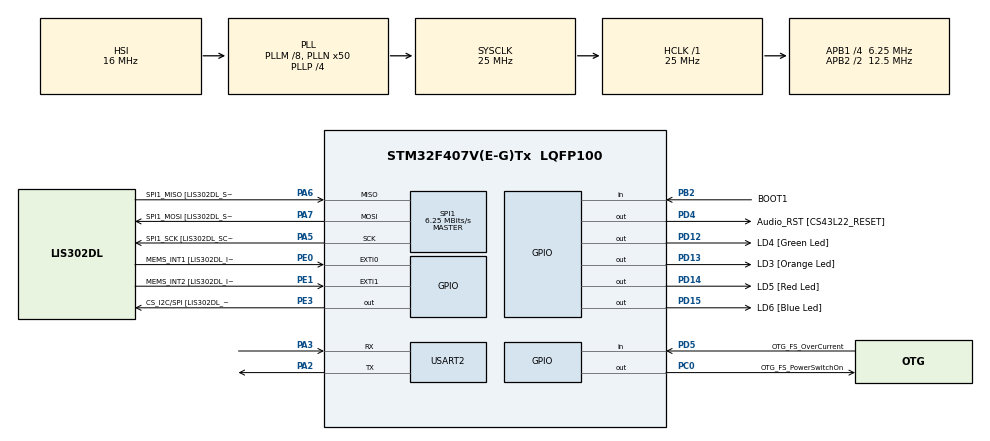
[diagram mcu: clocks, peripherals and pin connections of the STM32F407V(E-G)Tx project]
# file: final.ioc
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Mcu.Family=STM32F4
Mcu.Name=STM32F407V(E-G)Tx
Mcu.Package=LQFP100
NVIC.PriorityGroup=NVIC_PRIORITYGROUP_0
PA10.GPIO_Label=OTG_FS_ID
PA10.GPIO_Mode=GPIO_MODE_AF_PP
PA10.GPIO_PuPd=GPIO_NOPULL
PA10.GPIO_Speed=GPIO_SPEED_FREQ_LOW
PA10.Signal=USB_OTG_FS_ID
PA11.GPIO_Label=OTG_FS_DM
PA11.GPIO_Mode=GPIO_MODE_AF_PP
PA11.GPIO_PuPd=GPIO_NOPULL
PA11.GPIO_Speed=GPIO_SPEED_FREQ_LOW
PA11.Signal=USB_OTG_FS_DM
PA12.GPIO_Label=OTG_FS_DP
PA12.GPIO_Mode=GPIO_MODE_AF_PP
PA12.GPIO_PuPd=GPIO_NOPULL
PA12.GPIO_Speed=GPIO_SPEED_FREQ_LOW
PA12.Signal=USB_OTG_FS_DP
PA13.GPIO_Label=SWDIO
PA13.Signal=SYS_JTMS-SWDIO
PA14.GPIO_Label=SWCLK
PA14.Signal=SYS_JTCK-SWCLK
PA2.Mode=Asynchronous
PA2.Signal=USART2_TX
PA3.Mode=Asynchronous
PA3.Signal=USART2_RX
PA4.GPIO_Label=I2S3_WS [CS43L22_LRCK]
PA4.GPIO_Mode=GPIO_MODE_AF_PP
PA4.GPIO_PuPd=GPIO_NOPULL
PA4.GPIO_Speed=GPIO_SPEED_FREQ_LOW
PA4.Signal=I2S3_WS
PA5.GPIO_Label=SPI1_SCK [LIS302DL_SCL/SPC]
PA5.GPIO_Mode=GPIO_MODE_AF_PP
PA5.GPIO_PuPd=GPIO_NOPULL
PA5.GPIO_Speed=GPIO_SPEED_FREQ_LOW
PA5.Mode=Full_Duplex_Master
PA5.Signal=SPI1_SCK
PA6.GPIO_Label=SPI1_MISO [LIS302DL_SDO]
PA6.GPIO_Mode=GPIO_MODE_AF_PP
PA6.GPIO_PuPd=GPIO_NOPULL
PA6.GPIO_Speed=GPIO_SPEED_FREQ_LOW
PA6.Mode=Full_Duplex_Master
PA6.Signal=SPI1_MISO
PA7.GPIO_Label=SPI1_MOSI [LIS302DL_SDA/SDI/SDO]
PA7.GPIO_Mode=GPIO_MODE_AF_PP
PA7.GPIO_PuPd=GPIO_NOPULL
PA7.GPIO_Speed=GPIO_SPEED_FREQ_LOW
PA7.Mode=Full_Duplex_Master
PA7.Signal=SPI1_MOSI
PA9.GPIO_Label=VBUS_FS
PA9.GPIO_Mode=GPIO_MODE_INPUT
PA9.GPIO_PuPd=GPIO_NOPULL
PA9.Signal=USB_OTG_FS_VBUS
PB10.GPIO_Label=CLK_IN [MP45DT02_CLK]
PB10.GPIO_Mode=GPIO_MODE_AF_PP
PB10.GPIO_PuPd=GPIO_NOPULL
PB10.GPIO_Speed=GPIO_SPEED_FREQ_LOW
PB10.Signal=I2S2_CK
PB2.GPIO_Label=BOOT1
PB2.GPIO_Mode=GPIO_MODE_INPUT
PB2.GPIO_PuPd=GPIO_NOPULL
PB2.Signal=GPIO_Input
PB3.GPIO_Label=SWO
PB3.Signal=SYS_JTDO-SWO
PB6.GPIO_Label=Audio_SCL [CS43L22_SCL]
PB6.GPIO_Mode=GPIO_MODE_AF_OD
PB6.GPIO_PuPd=GPIO_NOPULL
PB6.GPIO_Speed=GPIO_SPEED_FREQ_LOW
PB6.Signal=I2C1_SCL
PB9.GPIO_Label=Audio_SDA [CS43L22_SDA]
PB9.GPIO_Mode=GPIO_MODE_AF_OD
PB9.GPIO_PuPd=GPIO_NOPULL
PB9.GPIO_Speed=GPIO_SPEED_FREQ_LOW
PB9.Signal=I2C1_SDA
PC0.GPIO_Label=OTG_FS_PowerSwitchOn
PC0.GPIO_PuPd=GPIO_NOPULL
PC0.GPIO_Speed=GPIO_SPEED_FREQ_LOW
PC0.PinState=GPIO_PIN_SET
PC0.Signal=GPIO_Output
PC10.GPIO_Label=I2S3_SCK [CS43L22_SCLK]
PC10.GPIO_Mode=GPIO_MODE_AF_PP
PC10.GPIO_PuPd=GPIO_NOPULL
PC10.GPIO_Speed=GPIO_SPEED_FREQ_LOW
PC10.Signal=I2S3_CK
PC12.GPIO_Label=I2S3_SD [CS43L22_SDIN]
PC12.GPIO_Mode=GPIO_MODE_AF_PP
PC12.GPIO_PuPd=GPIO_NOPULL
PC12.GPIO_Speed=GPIO_SPEED_FREQ_LOW
PC12.Signal=I2S3_SD
PC14-OSC32_IN.GPIO_Label=PC14-OSC32_IN
PC14-OSC32_IN.Signal=RCC_OSC32_IN
PC15-OSC32_OUT.GPIO_Label=PC15-OSC32_OUT
PC15-OSC32_OUT.Signal=RCC_OSC32_OUT
PC3.GPIO_Label=PDM_OUT [MP45DT02_DOUT]
PC3.GPIO_Mode=GPIO_MODE_AF_PP
PC3.GPIO_PuPd=GPIO_NOPULL
PC3.GPIO_Speed=GPIO_SPEED_FREQ_LOW
PC3.Signal=I2S2_SD
PC7.GPIO_Label=I2S3_MCK [CS43L22_MCLK]
PC7.GPIO_Mode=GPIO_MODE_AF_PP
PC7.GPIO_PuPd=GPIO_NOPULL
PC7.GPIO_Speed=GPIO_SPEED_FREQ_LOW
PC7.Signal=I2S3_MCK
PD12.GPIO_Label=LD4 [Green Led]
PD12.GPIO_PuPd=GPIO_NOPULL
PD12.GPIO_Speed=GPIO_SPEED_FREQ_LOW
PD12.Signal=GPIO_Output
PD13.GPIO_Label=LD3 [Orange Led]
PD13.GPIO_PuPd=GPIO_NOPULL
PD13.GPIO_Speed=GPIO_SPEED_FREQ_LOW
PD13.Signal=GPIO_Output
PD14.GPIO_Label=LD5 [Red Led]
PD14.GPIO_PuPd=GPIO_NOPULL
PD14.GPIO_Speed=GPIO_SPEED_FREQ_LOW
PD14.Signal=GPIO_Output
PD15.GPIO_Label=LD6 [Blue Led]
PD15.GPIO_PuPd=GPIO_NOPULL
PD15.GPIO_Speed=GPIO_SPEED_FREQ_LOW
PD15.Signal=GPIO_Output
PD4.GPIO_Label=Audio_RST [CS43L22_RESET]
PD4.GPIO_PuPd=GPIO_NOPULL
PD4.GPIO_Speed=GPIO_SPEED_FREQ_LOW
PD4.Signal=GPIO_Output
PD5.GPIO_Label=OTG_FS_OverCurrent
PD5.GPIO_Mode=GPIO_MODE_INPUT
PD5.GPIO_PuPd=GPIO_NOPULL
PD5.Signal=GPIO_Input
PE0.GPIO_Label=MEMS_INT1 [LIS302DL_INT1]
PE0.Signal=GPXTI0
PE1.GPIO_Label=MEMS_INT2 [LIS302DL_INT2]
PE1.GPIO_ModeDefaultEXTI=GPIO_MODE_EVT_RISING
PE1.GPIO_PuPd=GPIO_NOPULL
PE1.Signal=GPXTI1
PE3.GPIO_Label=CS_I2C/SPI [LIS302DL_CS_I2C/SPI]
PE3.GPIO_PuPd=GPIO_NOPULL
PE3.GPIO_Speed=GPIO_SPEED_FREQ_LOW
PE3.Signal=GPIO_Output
PH0-OSC_IN.GPIO_Label=PH0-OSC_IN
PH0-OSC_IN.Signal=RCC_OSC_IN
PH1-OSC_OUT.GPIO_Label=PH1-OSC_OUT
PH1-OSC_OUT.Signal=RCC_OSC_OUT
ProjectManager.HeapSize=0x200
ProjectManager.StackSize=0x400
ProjectManager.TargetToolchain=SW4STM32
RCC.48MHZClocksFreq_Value=14285714.285714285
RCC.AHBFreq_Value=25000000
RCC.APB1CLKDivider=RCC_HCLK_DIV4
RCC.APB1Freq_Value=6250000
RCC.APB1TimFreq_Value=12500000
RCC.APB2CLKDivider=RCC_HCLK_DIV2
RCC.APB2Freq_Value=12500000
RCC.APB2TimFreq_Value=25000000
RCC.CortexFreq_Value=25000000
RCC.HCLKFreq_Value=25000000
RCC.HSE_VALUE=8000000
RCC.HSI_VALUE=16000000
RCC.LSE_VALUE=32768
RCC.PLLM=8
RCC.PLLN=50
RCC.PLLP=RCC_PLLP_DIV4
RCC.PLLQ=7
RCC.SYSCLKFreq_VALUE=25000000
RCC.SYSCLKSource=RCC_SYSCLKSOURCE_PLLCLK
RCC.VCOOutputFreq_Value=100000000
SPI1.CalculateBaudRate=6.25 MBits/s
SPI1.Mode=SPI_MODE_MASTER
board=STM32F407G-DISC1

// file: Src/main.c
/**
 ******************************************************************************
 * File Name          : main.c
 * Description        : Main program body
 ******************************************************************************
 *
 * COPYRIGHT(c) 2016 STMicroelectronics
 *
 * Redistribution and use in source and binary forms, with or without modification,
 * are permitted provided that the following conditions are met:
 *   1. Redistributions of source code must retain the above copyright notice,
 *      this list of conditions and the following disclaimer.
 *   2. Redistributions in binary form must reproduce the above copyright notice,
 *      this list of conditions and the following disclaimer in the documentation
 *      and/or other materials provided with the distribution.
 *   3. Neither the name of STMicroelectronics nor the names of its contributors
 *      may be used to endorse or promote products derived from this software
 *      without specific prior written permission.
 *
 * THIS SOFTWARE IS PROVIDED BY THE COPYRIGHT HOLDERS AND CONTRIBUTORS "AS IS"
 * AND ANY EXPRESS OR IMPLIED WARRANTIES, INCLUDING, BUT NOT LIMITED TO, THE
 * IMPLIED WARRANTIES OF MERCHANTABILITY AND FITNESS FOR A PARTICULAR PURPOSE ARE
 * DISCLAIMED. IN NO EVENT SHALL THE COPYRIGHT HOLDER OR CONTRIBUTORS BE LIABLE
 * FOR ANY DIRECT, INDIRECT, INCIDENTAL, SPECIAL, EXEMPLARY, OR CONSEQUENTIAL
 * DAMAGES (INCLUDING, BUT NOT LIMITED TO, PROCUREMENT OF SUBSTITUTE GOODS OR
 * SERVICES; LOSS OF USE, DATA, OR PROFITS; OR BUSINESS INTERRUPTION) HOWEVER
 * CAUSED AND ON ANY THEORY OF LIABILITY, WHETHER IN CONTRACT, STRICT LIABILITY,
 * OR TORT (INCLUDING NEGLIGENCE OR OTHERWISE) ARISING IN ANY WAY OUT OF THE USE
 * OF THIS SOFTWARE, EVEN IF ADVISED OF THE POSSIBILITY OF SUCH DAMAGE.
 *
 ******************************************************************************
 */
#include "main.h"
#include "stm32f4xx_hal.h"

SPI_HandleTypeDef hspi1;

UART_HandleTypeDef huart2;

/* USER CODE BEGIN PV */
/* Private variables ---------------------------------------------------------*/

/* USER CODE END PV */

void SystemClock_Config(void);
void Error_Handler(void);
static void MX_GPIO_Init(void);
static void MX_USART2_UART_Init(void);
static void MX_SPI1_Init(void);

/* USER CODE BEGIN PFP */
/* Private function prototypes -----------------------------------------------*/

/* USER CODE END PFP */

int main(void) {

	/* MCU Configuration----------------------------------------------------------*/

	/* Reset of all peripherals, Initializes the Flash interface and the Systick. */
	HAL_Init();

	/* Configure the system clock */
	SystemClock_Config();

	/* Initialize all configured peripherals */
	MX_GPIO_Init();
	MX_USART2_UART_Init();
	MX_SPI1_Init();

	/* USER CODE BEGIN 2 */
	uint8_t address = 0x20;
	uint8_t data = 0x67;

	uint8_t x, y, z;

	HAL_GPIO_WritePin(GPIOE, GPIO_PIN_3, GPIO_PIN_RESET);
	HAL_SPI_Transmit(&hspi1, &address, 1, 50);
	HAL_SPI_Transmit(&hspi1, &data, 1, 50);
	HAL_GPIO_WritePin(GPIOE, GPIO_PIN_3, GPIO_PIN_SET);
	/* USER CODE END 2 */

	/* Infinite loop */
	while (1) {

		/* USER CODE BEGIN 3 */
		// HAL_SPI_Transmit
		HAL_GPIO_WritePin(GPIOE,GPIO_PIN_3,GPIO_PIN_RESET);

		address = 0x29 | 0x80;
		HAL_SPI_Transmit(&hspi1, &address, 1, 50);
		HAL_SPI_Receive(&hspi1, &x, 1, 50);

		address = 0x2B | 0x80;
		HAL_SPI_Transmit(&hspi1, &address, 1, 50);
		HAL_SPI_Receive(&hspi1, &y, 1, 50);

		address = 0x2C | 0x80;
		HAL_SPI_Transmit(&hspi1, &address, 1, 50);
		HAL_SPI_Receive(&hspi1, &z, 1, 50);

		if (x < 60) {
			HAL_GPIO_WritePin(GPIOD, GPIO_PIN_12, GPIO_PIN_SET);
			HAL_GPIO_WritePin(GPIOD, GPIO_PIN_14, GPIO_PIN_RESET);
		} else if (x > 240) {
			HAL_GPIO_WritePin(GPIOD, GPIO_PIN_12, GPIO_PIN_RESET);
			HAL_GPIO_WritePin(GPIOD, GPIO_PIN_14, GPIO_PIN_SET);
		} else {
			HAL_GPIO_WritePin(GPIOD, GPIO_PIN_12, GPIO_PIN_RESET);
			HAL_GPIO_WritePin(GPIOD, GPIO_PIN_14, GPIO_PIN_RESET);
		}

		if (y < 60) {
			HAL_GPIO_WritePin(GPIOD, GPIO_PIN_13, GPIO_PIN_SET);
			HAL_GPIO_WritePin(GPIOD, GPIO_PIN_15, GPIO_PIN_RESET);
		} else if (y > 240) {
			HAL_GPIO_WritePin(GPIOD, GPIO_PIN_13, GPIO_PIN_RESET);
			HAL_GPIO_WritePin(GPIOD, GPIO_PIN_15, GPIO_PIN_SET);
		} else {
			HAL_GPIO_WritePin(GPIOD, GPIO_PIN_13, GPIO_PIN_RESET);
			HAL_GPIO_WritePin(GPIOD, GPIO_PIN_15, GPIO_PIN_RESET);
		}
	}
	/* USER CODE END 3 */

}

/** System Clock Configuration
 */
void SystemClock_Config(void) {

	RCC_OscInitTypeDef RCC_OscInitStruct;
	RCC_ClkInitTypeDef RCC_ClkInitStruct;

	/**Configure the main internal regulator output voltage
	 */
	__HAL_RCC_PWR_CLK_ENABLE()
	;

	__HAL_PWR_VOLTAGESCALING_CONFIG(PWR_REGULATOR_VOLTAGE_SCALE1);

	/**Initializes the CPU, AHB and APB busses clocks
	 */
	RCC_OscInitStruct.OscillatorType = RCC_OSCILLATORTYPE_HSI;
	RCC_OscInitStruct.HSIState = RCC_HSI_ON;
	RCC_OscInitStruct.HSICalibrationValue = 16;
	RCC_OscInitStruct.PLL.PLLState = RCC_PLL_ON;
	RCC_OscInitStruct.PLL.PLLSource = RCC_PLLSOURCE_HSI;
	RCC_OscInitStruct.PLL.PLLM = 8;
	RCC_OscInitStruct.PLL.PLLN = 50;
	RCC_OscInitStruct.PLL.PLLP = RCC_PLLP_DIV4;
	RCC_OscInitStruct.PLL.PLLQ = 7;
	if (HAL_RCC_OscConfig(&RCC_OscInitStruct) != HAL_OK) {
		Error_Handler();
	}

	/**Initializes the CPU, AHB and APB busses clocks
	 */
	RCC_ClkInitStruct.ClockType = RCC_CLOCKTYPE_HCLK | RCC_CLOCKTYPE_SYSCLK
			| RCC_CLOCKTYPE_PCLK1 | RCC_CLOCKTYPE_PCLK2;
	RCC_ClkInitStruct.SYSCLKSource = RCC_SYSCLKSOURCE_PLLCLK;
	RCC_ClkInitStruct.AHBCLKDivider = RCC_SYSCLK_DIV1;
	RCC_ClkInitStruct.APB1CLKDivider = RCC_HCLK_DIV4;
	RCC_ClkInitStruct.APB2CLKDivider = RCC_HCLK_DIV2;

	if (HAL_RCC_ClockConfig(&RCC_ClkInitStruct, FLASH_LATENCY_0) != HAL_OK) {
		Error_Handler();
	}

	/**Configure the Systick interrupt time
	 */
	HAL_SYSTICK_Config(HAL_RCC_GetHCLKFreq() / 1000);

	/**Configure the Systick
	 */
	HAL_SYSTICK_CLKSourceConfig(SYSTICK_CLKSOURCE_HCLK);

	/* SysTick_IRQn interrupt configuration */
	HAL_NVIC_SetPriority(SysTick_IRQn, 0, 0);
}

/* SPI1 init function */
static void MX_SPI1_Init(void) {

	hspi1.Instance = SPI1;
	hspi1.Init.Mode = SPI_MODE_MASTER;
	hspi1.Init.Direction = SPI_DIRECTION_2LINES;
	hspi1.Init.DataSize = SPI_DATASIZE_8BIT;
	hspi1.Init.CLKPolarity = SPI_POLARITY_LOW;
	hspi1.Init.CLKPhase = SPI_PHASE_1EDGE;
	hspi1.Init.NSS = SPI_NSS_SOFT;
	hspi1.Init.BaudRatePrescaler = SPI_BAUDRATEPRESCALER_2;
	hspi1.Init.FirstBit = SPI_FIRSTBIT_MSB;
	hspi1.Init.TIMode = SPI_TIMODE_DISABLE;
	hspi1.Init.CRCCalculation = SPI_CRCCALCULATION_DISABLE;
	hspi1.Init.CRCPolynomial = 10;
	if (HAL_SPI_Init(&hspi1) != HAL_OK) {
		Error_Handler();
	}

}

/* USART2 init function */
static void MX_USART2_UART_Init(void) {

	huart2.Instance = USART2;
	huart2.Init.BaudRate = 115200;
	huart2.Init.WordLength = UART_WORDLENGTH_8B;
	huart2.Init.StopBits = UART_STOPBITS_1;
	huart2.Init.Parity = UART_PARITY_NONE;
	huart2.Init.Mode = UART_MODE_TX_RX;
	huart2.Init.HwFlowCtl = UART_HWCONTROL_NONE;
	huart2.Init.OverSampling = UART_OVERSAMPLING_16;
	if (HAL_UART_Init(&huart2) != HAL_OK) {
		Error_Handler();
	}

}

/** Configure pins as
 * Analog
 * Input
 * Output
 * EVENT_OUT
 * EXTI
 PC3   ------> I2S2_SD
 PA4   ------> I2S3_WS
 PB10   ------> I2S2_CK
 PC7   ------> I2S3_MCK
 PA9   ------> USB_OTG_FS_VBUS
 PA10   ------> USB_OTG_FS_ID
 PA11   ------> USB_OTG_FS_DM
 PA12   ------> USB_OTG_FS_DP
 PC10   ------> I2S3_CK
 PC12   ------> I2S3_SD
 PB6   ------> I2C1_SCL
 PB9   ------> I2C1_SDA
 */
static void MX_GPIO_Init(void) {

	GPIO_InitTypeDef GPIO_InitStruct;

	/* GPIO Ports Clock Enable */
	__HAL_RCC_GPIOE_CLK_ENABLE()
	;
	__HAL_RCC_GPIOC_CLK_ENABLE()
	;
	__HAL_RCC_GPIOH_CLK_ENABLE()
	;
	__HAL_RCC_GPIOA_CLK_ENABLE()
	;
	__HAL_RCC_GPIOB_CLK_ENABLE()
	;
	__HAL_RCC_GPIOD_CLK_ENABLE()
	;

	/*Configure GPIO pin Output Level */
	HAL_GPIO_WritePin(CS_I2C_SPI_GPIO_Port, CS_I2C_SPI_Pin, GPIO_PIN_RESET);

	/*Configure GPIO pin Output Level */
	HAL_GPIO_WritePin(OTG_FS_PowerSwitchOn_GPIO_Port, OTG_FS_PowerSwitchOn_Pin,
			GPIO_PIN_SET);

	/*Configure GPIO pin Output Level */
	HAL_GPIO_WritePin(GPIOD,
	LD4_Pin | LD3_Pin | LD5_Pin | LD6_Pin | Audio_RST_Pin, GPIO_PIN_RESET);

	/*Configure GPIO pin : CS_I2C_SPI_Pin */
	GPIO_InitStruct.Pin = CS_I2C_SPI_Pin;
	GPIO_InitStruct.Mode = GPIO_MODE_OUTPUT_PP;
	GPIO_InitStruct.Pull = GPIO_NOPULL;
	GPIO_InitStruct.Speed = GPIO_SPEED_FREQ_LOW;
	HAL_GPIO_Init(CS_I2C_SPI_GPIO_Port, &GPIO_InitStruct);

	/*Configure GPIO pin : OTG_FS_PowerSwitchOn_Pin */
	GPIO_InitStruct.Pin = OTG_FS_PowerSwitchOn_Pin;
	GPIO_InitStruct.Mode = GPIO_MODE_OUTPUT_PP;
	GPIO_InitStruct.Pull = GPIO_NOPULL;
	GPIO_InitStruct.Speed = GPIO_SPEED_FREQ_LOW;
	HAL_GPIO_Init(OTG_FS_PowerSwitchOn_GPIO_Port, &GPIO_InitStruct);

	/*Configure GPIO pin : PDM_OUT_Pin */
	GPIO_InitStruct.Pin = PDM_OUT_Pin;
	GPIO_InitStruct.Mode = GPIO_MODE_AF_PP;
	GPIO_InitStruct.Pull = GPIO_NOPULL;
	GPIO_InitStruct.Speed = GPIO_SPEED_FREQ_LOW;
	GPIO_InitStruct.Alternate = GPIO_AF5_SPI2;
	HAL_GPIO_Init(PDM_OUT_GPIO_Port, &GPIO_InitStruct);

	/*Configure GPIO pin : PA4 */
	GPIO_InitStruct.Pin = GPIO_PIN_4;
	GPIO_InitStruct.Mode = GPIO_MODE_AF_PP;
	GPIO_InitStruct.Pull = GPIO_NOPULL;
	GPIO_InitStruct.Speed = GPIO_SPEED_FREQ_LOW;
	GPIO_InitStruct.Alternate = GPIO_AF6_SPI3;
	HAL_GPIO_Init(GPIOA, &GPIO_InitStruct);

	/*Configure GPIO pin : BOOT1_Pin */
	GPIO_InitStruct.Pin = BOOT1_Pin;
	GPIO_InitStruct.Mode = GPIO_MODE_INPUT;
	GPIO_InitStruct.Pull = GPIO_NOPULL;
	HAL_GPIO_Init(BOOT1_GPIO_Port, &GPIO_InitStruct);

	/*Configure GPIO pin : CLK_IN_Pin */
	GPIO_InitStruct.Pin = CLK_IN_Pin;
	GPIO_InitStruct.Mode = GPIO_MODE_AF_PP;
	GPIO_InitStruct.Pull = GPIO_NOPULL;
	GPIO_InitStruct.Speed = GPIO_SPEED_FREQ_LOW;
	GPIO_InitStruct.Alternate = GPIO_AF5_SPI2;
	HAL_GPIO_Init(CLK_IN_GPIO_Port, &GPIO_InitStruct);

	/*Configure GPIO pins : LD4_Pin LD3_Pin LD5_Pin LD6_Pin
	 Audio_RST_Pin */
	GPIO_InitStruct.Pin = LD4_Pin | LD3_Pin | LD5_Pin | LD6_Pin | Audio_RST_Pin;
	GPIO_InitStruct.Mode = GPIO_MODE_OUTPUT_PP;
	GPIO_InitStruct.Pull = GPIO_NOPULL;
	GPIO_InitStruct.Speed = GPIO_SPEED_FREQ_LOW;
	HAL_GPIO_Init(GPIOD, &GPIO_InitStruct);

	/*Configure GPIO pins : PC7 I2S3_SCK_Pin PC12 */
	GPIO_InitStruct.Pin = GPIO_PIN_7 | I2S3_SCK_Pin | GPIO_PIN_12;
	GPIO_InitStruct.Mode = GPIO_MODE_AF_PP;
	GPIO_InitStruct.Pull = GPIO_NOPULL;
	GPIO_InitStruct.Speed = GPIO_SPEED_FREQ_LOW;
	GPIO_InitStruct.Alternate = GPIO_AF6_SPI3;
	HAL_GPIO_Init(GPIOC, &GPIO_InitStruct);

	/*Configure GPIO pin : VBUS_FS_Pin */
	GPIO_InitStruct.Pin = VBUS_FS_Pin;
	GPIO_InitStruct.Mode = GPIO_MODE_INPUT;
	GPIO_InitStruct.Pull = GPIO_NOPULL;
	HAL_GPIO_Init(VBUS_FS_GPIO_Port, &GPIO_InitStruct);

	/*Configure GPIO pins : OTG_FS_ID_Pin OTG_FS_DM_Pin OTG_FS_DP_Pin */
	GPIO_InitStruct.Pin = OTG_FS_ID_Pin | OTG_FS_DM_Pin | OTG_FS_DP_Pin;
	GPIO_InitStruct.Mode = GPIO_MODE_AF_PP;
	GPIO_InitStruct.Pull = GPIO_NOPULL;
	GPIO_InitStruct.Speed = GPIO_SPEED_FREQ_LOW;
	GPIO_InitStruct.Alternate = GPIO_AF10_OTG_FS;
	HAL_GPIO_Init(GPIOA, &GPIO_InitStruct);

	/*Configure GPIO pin : OTG_FS_OverCurrent_Pin */
	GPIO_InitStruct.Pin = OTG_FS_OverCurrent_Pin;
	GPIO_InitStruct.Mode = GPIO_MODE_INPUT;
	GPIO_InitStruct.Pull = GPIO_NOPULL;
	HAL_GPIO_Init(OTG_FS_OverCurrent_GPIO_Port, &GPIO_InitStruct);

	/*Configure GPIO pins : Audio_SCL_Pin Audio_SDA_Pin */
	GPIO_InitStruct.Pin = Audio_SCL_Pin | Audio_SDA_Pin;
	GPIO_InitStruct.Mode = GPIO_MODE_AF_OD;
	GPIO_InitStruct.Pull = GPIO_PULLUP;
	GPIO_InitStruct.Speed = GPIO_SPEED_FREQ_LOW;
	GPIO_InitStruct.Alternate = GPIO_AF4_I2C1;
	HAL_GPIO_Init(GPIOB, &GPIO_InitStruct);

	/*Configure GPIO pin : MEMS_INT1_Pin */
	GPIO_InitStruct.Pin = MEMS_INT1_Pin;
	GPIO_InitStruct.Mode = GPIO_MODE_IT_RISING;
	GPIO_InitStruct.Pull = GPIO_NOPULL;
	HAL_GPIO_Init(MEMS_INT1_GPIO_Port, &GPIO_InitStruct);

	/*Configure GPIO pin : MEMS_INT2_Pin */
	GPIO_InitStruct.Pin = MEMS_INT2_Pin;
	GPIO_InitStruct.Mode = GPIO_MODE_EVT_RISING;
	GPIO_InitStruct.Pull = GPIO_NOPULL;
	HAL_GPIO_Init(MEMS_INT2_GPIO_Port, &GPIO_InitStruct);

}

void Error_Handler(void) {
	while (1) {
	}
}

/************************ (C) COPYRIGHT STMicroelectronics *****END OF FILE****/
